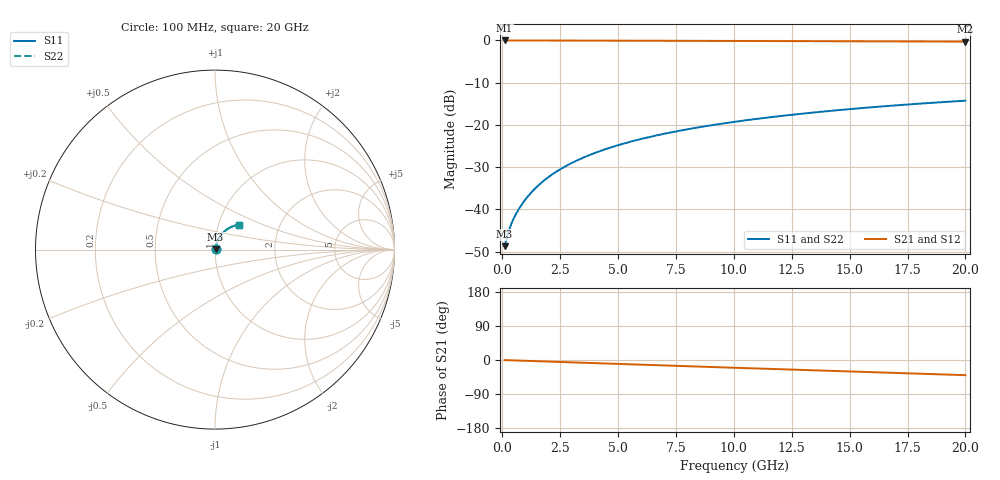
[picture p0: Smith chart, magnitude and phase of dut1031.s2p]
! Touchstone file exported from HFSS 2026.1.0
!  File:  C:/ffzhzh/LocalFiles/Ansys_Project_Files/temp_train_TMRDL_1031_1783160037_51560.aedt
!  Generated:  06:15:06 PM Jul  4, 2026
!  Design:  TMRDL
!  Project:  temp_train_TMRDL_1031_1783160037_51560
! Variables:
!  h_bsmrdl = 2um
!  h_ox = 20um
!  h_rdl = 5um
!  h_sub = 80um
!  h_tmrdl = 3.56um
!  h_tsv = 80um
!  h_via = 3um
!  l_bsmrdl = 300um
!  l_sub = 1076.47um
!  l_tmrdl = 676.47um
!  m_sub = 200um
!  pitch = 31.74um
!  r_tsv = 6um
!  s_tmrdl = 10um
!  w_bsmrdl = 18um
!  w_sub = 500um
!  w_tmrdl = 21.86um
!  x_tsv_center1 = 687.4um
!  x_tsv_center2 = 1005.4um
!  x_tsv_center3 = 1703.73um
!  x_tsv_center4 = 2021.73um
!  x_tsv_center5 = 2720.06um
!  x_tsv_center6 = 3038.06um
# GHz S MA R 50.000000
! Terminal data exported
! Port[1] = TM_RDL1_1_T1
! Port[2] = TM_RDL1_1_T2
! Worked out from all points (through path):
!   200 points, 100 MHz to 20 GHz, reference 50 ohm
!   highest |S21| = -0.03 dB at 100 MHz (marker M1); lowest = -0.3 dB at 20 GHz (marker M2)
!   group delay of S21, straight-line fit = 5.54 ps
!   lowest |S11| = -48.7 dB at 100 MHz (marker M3), VSWR 1.01, Z = 50.3 + j0.157 ohm
!   |S11| at or under -10 dB: start of sweep to end of sweep
!   |S22| runs from -48.7 to -14.3 dB; largest |S21 - S12| = 5.2e-15
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0.1  0.003671 25.1  0.9967 -0.2  0.9967 -0.2  0.003671 25.1
! Gamma 0 0 0 0
! Port Impedance 50 0 50 0
0.2  0.004671 39.8  0.9964 -0.5  0.9964 -0.5  0.004671 39.8
0.3  0.005773 47.6  0.9961 -0.7  0.9961 -0.7  0.005773 47.6
0.4  0.006847 52.5  0.9959 -0.9  0.9959 -0.9  0.006847 52.5
0.5  0.007892 56.2  0.9957 -1.1  0.9957 -1.1  0.007892 56.2
0.6  0.008925 59.1  0.9956 -1.3  0.9956 -1.3  0.008925 59.1
0.8  0.011 63.5  0.9954 -1.7  0.9954 -1.7  0.011 63.5
1  0.01312 66.7  0.9952 -2.1  0.9952 -2.1  0.01312 66.7
1.2  0.01528 69.0  0.9951 -2.5  0.9951 -2.5  0.01528 69.0
1.7  0.02081 72.3  0.9947 -3.6  0.9947 -3.6  0.02081 72.3
2.2  0.02642 73.7  0.9944 -4.6  0.9944 -4.6  0.02642 73.8
2.8  0.03316 74.3  0.9938 -5.8  0.9938 -5.8  0.03316 74.3
3.5  0.04099 74.1  0.9931 -7.3  0.9931 -7.3  0.04099 74.1
4.2  0.04873 73.5  0.9922 -8.7  0.9922 -8.7  0.04873 73.5
5  0.05744 72.4  0.9911 -10.4  0.9911 -10.4  0.05745 72.4
5.9  0.06706 71.0  0.9898 -12.2  0.9898 -12.2  0.06706 71.0
6.8  0.07646 69.5  0.9884 -14.0  0.9884 -14.0  0.07646 69.5
8.3  0.09169 66.9  0.986 -17.0  0.986 -17.0  0.09169 66.9
10.1  0.1093 63.6  0.983 -20.6  0.983 -20.6  0.1093 63.7
13.4  0.1397 57.7  0.9774 -27.1  0.9774 -27.1  0.1397 57.7
16.7  0.1677 51.7  0.9717 -33.6  0.9717 -33.6  0.1677 51.7
20  0.1932 45.7  0.9659 -40.0  0.9659 -40.0  0.1932 45.7
